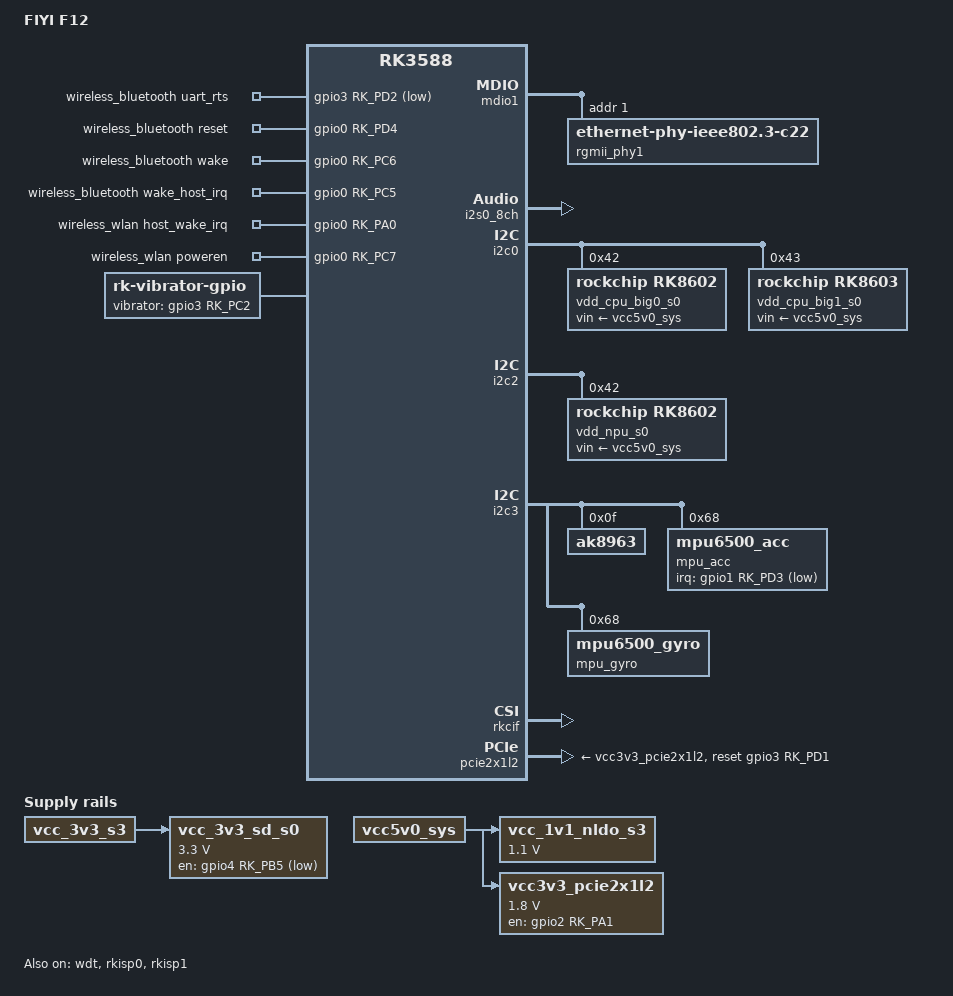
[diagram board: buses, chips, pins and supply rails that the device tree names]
// SPDX-License-Identifier: (GPL-2.0+ OR MIT)
/*
 * Copyright (c) 2021 Rockchip Electronics Co., Ltd.
 *
 */

/dts-v1/;

#include "rk3588s-orangepi-5.dtsi"
#include "rk3588-linux.dtsi"

/ {
	model = "FIYI F12";
	compatible = "rockchip,rk3588s-fiyi-f12", "rockchip,rk3588";

	vcc_3v3_sd_s0: vcc-3v3-sd-s0 {
		compatible = "regulator-fixed";
		regulator-name = "vcc_3v3_sd_s0";
		regulator-min-microvolt = <3300000>;
		regulator-max-microvolt = <3300000>;
		gpios = <&gpio4 RK_PB5 GPIO_ACTIVE_LOW>;
		enable-active-low;
		vin-supply = <&vcc_3v3_s3>;
		regulator-state-mem {
			regulator-off-in-suspend;
		};
	};

	vcc_1v1_nldo_s3: vcc-1v1-nldo-s3 {
		compatible = "regulator-fixed";
		regulator-name = "vcc_1v1_nldo_s3";
		regulator-always-on;
		regulator-boot-on;
		regulator-min-microvolt = <1100000>;
		regulator-max-microvolt = <1100000>;
		vin-supply = <&vcc5v0_sys>;
	};

	vcc3v3_pcie2x1l2: vcc3v3-pcie2x1l2 {
		compatible = "regulator-fixed";
		regulator-name = "vcc3v3_pcie2x1l2";
		regulator-min-microvolt = <1800000>;
		regulator-max-microvolt = <1800000>;
		enable-active-high;
		regulator-boot-on;
		regulator-always-on;
		gpios = <&gpio2 RK_PA1 GPIO_ACTIVE_HIGH>;
		startup-delay-us = <50000>;
		vin-supply = <&vcc5v0_sys>;
	};

	wireless_bluetooth: wireless-bluetooth {
		compatible = "bluetooth-platdata";
		clocks = <&hym8563>;
		clock-names = "ext_clock";
		uart_rts_gpios = <&gpio3 RK_PD2 GPIO_ACTIVE_LOW>;
		pinctrl-names = "default", "rts_gpio";
		pinctrl-0 = <&uart9m2_rtsn>,  <&bt_reset_gpio>, <&bt_wake_gpio>, <&bt_irq_gpio>;
		pinctrl-1 = <&uart9_gpios>;
		BT,reset_gpio    = <&gpio0 RK_PD4 GPIO_ACTIVE_HIGH>;
		BT,wake_gpio     = <&gpio0 RK_PC6 GPIO_ACTIVE_HIGH>;
		BT,wake_host_irq = <&gpio0 RK_PC5 GPIO_ACTIVE_HIGH>;
		status = "okay";
	};

	wireless_wlan: wireless-wlan {
		compatible = "wlan-platdata";
		wifi_chip_type = "ap6275p";
		pinctrl-names = "default";
		pinctrl-0 = <&wifi_host_wake_irq &wifi_poweren_gpio>;
		WIFI,host_wake_irq = <&gpio0 RK_PA0 GPIO_ACTIVE_HIGH>;
		WIFI,poweren_gpio = <&gpio0 RK_PC7 GPIO_ACTIVE_HIGH>;
		status = "okay";
	};

	vibrator {
		compatible = "rk-vibrator-gpio";
		status = "okay";
		vibrator-gpio = <&gpio3 RK_PC2 GPIO_ACTIVE_HIGH>;
	};
};
&pinctrl{
		wireless-bluetooth {

			bt_reset_gpio: bt-reset-gpio {
				rockchip,pins = <0 RK_PD4 0 &pcfg_pull_none>;
			};

			bt_wake_gpio: bt-wake-gpio {
				rockchip,pins = <0 RK_PC6 0 &pcfg_pull_up>;
			};

			bt_irq_gpio: bt-wake-host-irq {
				rockchip,pins = <0 RK_PC5 0 &pcfg_pull_down>;
			};

			uart9_gpios: uart9-gpios {
				rockchip,pins = <3 RK_PD2 0 &pcfg_pull_none>;
			};
		};

		wireless-wlan {

			wifi_host_wake_irq: wifi-host-wake-irq {
				rockchip,pins = <0 RK_PA0 0 &pcfg_pull_down>;
			};

			wifi_poweren_gpio: wifi-poweren-gpio {
				rockchip,pins = <0 RK_PC7 0 &pcfg_pull_up>;
			};
		};
};

&mdio1 {
	rgmii_phy1: phy@1 {
		compatible = "ethernet-phy-ieee802.3-c22";
		reg = <0x1>;
	};
};


&i2s0_8ch {
	status = "okay";
	pinctrl-0 = <&i2s0_lrck
	             &i2s0_sclk
	             &i2s0_sdi0
	             &i2s0_sdo0>;
};

&i2c0 {
	status = "okay";
	pinctrl-names = "default";
	pinctrl-0 = <&i2c0m2_xfer>;

	vdd_cpu_big0_s0: vdd_cpu_big0_mem_s0: rk8602@42 {
		compatible = "rockchip,rk8602";
		reg = <0x42>;
		vin-supply = <&vcc5v0_sys>;
		regulator-compatible = "rk860x-reg";
		regulator-name = "vdd_cpu_big0_s0";
		regulator-min-microvolt = <550000>;
		regulator-max-microvolt = <1050000>;
		regulator-ramp-delay = <2300>;
		rockchip,suspend-voltage-selector = <1>;
		regulator-boot-on;
		regulator-always-on;
		regulator-state-mem {
			regulator-off-in-suspend;
		};
	};

	vdd_cpu_big1_s0: vdd_cpu_big1_mem_s0: rk8603@43 {
		compatible = "rockchip,rk8603";
		reg = <0x43>;
		vin-supply = <&vcc5v0_sys>;
		regulator-compatible = "rk860x-reg";
		regulator-name = "vdd_cpu_big1_s0";
		regulator-min-microvolt = <550000>;
		regulator-max-microvolt = <1050000>;
		regulator-ramp-delay = <2300>;
		rockchip,suspend-voltage-selector = <1>;
		regulator-boot-on;
		regulator-always-on;
		regulator-state-mem {
			regulator-off-in-suspend;
		};
	};
};

&i2c2 {
	status = "okay";

	vdd_npu_s0: vdd_npu_mem_s0: rk8602@42 {
		compatible = "rockchip,rk8602";
		reg = <0x42>;
		vin-supply = <&vcc5v0_sys>;
		regulator-compatible = "rk860x-reg";
		regulator-name = "vdd_npu_s0";
		regulator-min-microvolt = <550000>;
		regulator-max-microvolt = <950000>;
		regulator-ramp-delay = <2300>;
		rockchip,suspend-voltage-selector = <1>;
		regulator-boot-on;
		regulator-always-on;
		regulator-state-mem {
			regulator-off-in-suspend;
		};
	};
};

/*
   pin3: GPIO1_B7
   pin5: GPIO1_B6
*/
&i2c5 {
	status = "disabled";
	pinctrl-names = "default";
	pinctrl-0 = <&i2c5m3_xfer>;
};

&uart1 {
	status = "disabled";
	pinctrl-names = "default";
	pinctrl-0 = <&uart1m1_xfer>;
};

/*
   pin7: GPIO1_C6
*/
&pwm15 {
	status = "disabled";
	pinctrl-names = "active";
	pinctrl-0 = <&pwm15m2_pins>;
};

/*
   pin11: GPIO4_B2
   pin13: GPIO4_B3
*/
&pwm14 {
	status = "disabled";
	pinctrl-names = "active";
	pinctrl-0 = <&pwm14m1_pins>;
};

&can1 {
	status = "disabled";
	pinctrl-names = "default";
	pinctrl-0 = <&can1m1_pins>;
	assigned-clocks = <&cru CLK_CAN1>;
	assigned-clock-rates = <200000000>;
};

/*
   pin15: GPIO0_D4
   pin12: GPIO0_D5
*/
&can2 {
	status = "disabled";
	pinctrl-names = "default";
	pinctrl-0 = <&can2m1_pins>;
	assigned-clocks = <&cru CLK_CAN2>;
	assigned-clock-rates = <200000000>;
};

/*
   pin19: GPIO1_C1
   pin21: GPIO1_C0
   pin23: GPIO1_C2
   pin24: GPIO1_C4
*/
&spi4 {
	status = "disabled";
	pinctrl-names = "default";
	pinctrl-0 = <&spi4m0_cs1 &spi4m0_pins>;
	assigned-clocks = <&cru CLK_SPI4>;
	assigned-clock-rates = <200000000>;
	num-cs = <2>;

	spi_dev@1 {
		compatible = "rockchip,spidev";
		reg = <1>;
		spi-max-frequency = <50000000>;
	};
};

&i2c3 {
	status = "okay";
	pinctrl-names = "default";
	pinctrl-0 = <&i2c3m1_xfer>;

	ak8963@f {
		compatible = "ak8963";
		irq_enable = <0x00>;
		layout = <0x05>;
		poll_delay_ms = <0x1e>;
		reg = <0x0f>;
		reprobe_en = <0x01>;
		status = "okay";
		type = <0x03>;
	};

	mpu_acc@68 {
		compatible = "mpu6500_acc";
		irq-gpio = <&gpio1 RK_PD3 0x01>;
		irq_enable = <0x00>;
		layout = <0x07>;
		pinctrl-0 = <&mpu_en>;
		pinctrl-names = "default";
		poll_delay_ms = <0x1e>;
		reg = <0x68>;
		status = "okay";
		type = <0x02>;
	};

	mpu_gyro@68 {
		compatible = "mpu6500_gyro";
		layout = <0x07>;
		poll_delay_ms = <0x1e>;
		reg = <0x68>;
		status = "okay";
		type = <0x04>;
	};
};

&pinctrl {
	mpuen {
		mpu_en: mpu_en {
			rockchip,pins = <3 RK_PC3 0 &pcfg_pull_up>;
		};
	};
};

&uart3 {
	status = "disabled";
	pinctrl-names = "default";
	pinctrl-0 = <&uart3m0_xfer>;
};

&pwm3 {
	status = "disabled";
	pinctrl-names = "active";
	pinctrl-0 = <&pwm3m2_pins>;
	//pinctrl-0 = <&pwm3m0_pins>;
};

/*
   pin8:  GPIO4_A3
   pin10: GPIO4_A4
*/
&uart0 {
	status = "disabled";
	pinctrl-names = "default";
	pinctrl-0 = <&uart0m2_xfer>;
};

/*
   pin16: GPIO1_D3
   pin18: GPIO1_D2
*/
&uart4 {
	status = "disabled";
	pinctrl-names = "default";
	pinctrl-0 = <&uart4m0_xfer>;
};

&i2c1 {
	status = "disabled";
	pinctrl-names = "default";
	//pinctrl-0 = <&i2c1m4_xfer>;
	pinctrl-0 = <&i2c1m2_xfer>;
};

&pwm0 {
	status = "disabled";
	pinctrl-names = "active";
	pinctrl-0 = <&pwm0m1_pins>;
};

/*
   pin26: GPIO1_A3
*/
&pwm1 {
	status = "disabled";
	pinctrl-names = "active";
	//pinctrl-0 = <&pwm1m2_pins>;
	pinctrl-0 = <&pwm1m1_pins>;
};

/* watchdog */
&wdt {
	status = "okay";
};

&rkcif {
	status = "okay";
};

&rkcif_mmu {
	status = "okay";
};

&rkisp0 {
	status = "okay";
};

&isp0_mmu {
	status = "okay";
};

&rkisp1 {
	status = "okay";
};

&isp1_mmu {
	status = "okay";
};

&pcie2x1l2 {
	reset-gpios = <&gpio3 RK_PD1 GPIO_ACTIVE_HIGH>;
	vpcie3v3-supply = <&vcc3v3_pcie2x1l2>;
	rockchip,skip-scan-in-resume;
	status = "okay";
};

&pinctrl
{
	gpio-func {
		leds_gpio: leds-gpio {
			rockchip,pins =
				<1 RK_PA2 RK_FUNC_GPIO &pcfg_pull_none>;
		};
	};
};
